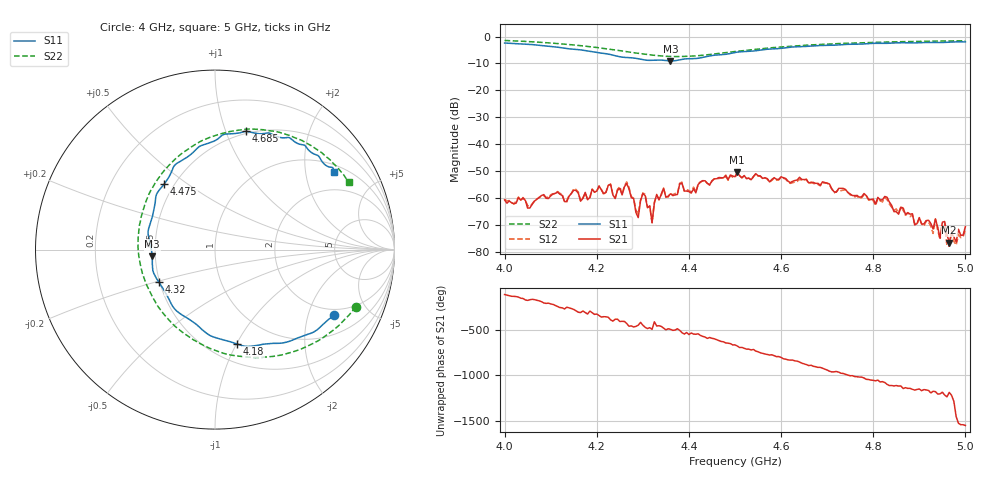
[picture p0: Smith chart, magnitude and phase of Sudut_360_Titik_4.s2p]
# Hz S RI R 50
! CMT, C1220, 16058040, 17.2.0/1
! Date: 15/08/2018 12:35:14
! Data: Format (Calibration Info)
! Freq  S11: Re/Im (F2)  S21: Re/Im (F2)  S12: Re/Im (F2)  S22: Re/Im (F2)
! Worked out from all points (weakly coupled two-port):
!   201 points, 4 GHz to 5 GHz, reference 50 ohm
!   highest |S21| = -50.41 dB at 4.505 GHz (marker M1); lowest = -76.5 dB at 4.965 GHz (marker M2)
!   lowest |S11| = -9.1 dB at 4.36 GHz (marker M3), VSWR 2.09, Z = 24 - j2.07 ohm
!   |S11| at or under -10 dB: nowhere
!   |S22| runs from -7.4 to -1.5 dB; largest |S21 - S12| = 0.00021
!   S11 on the Smith chart (normalised r, x): 4 GHz: 1.72, -2.96; 4.18 GHz: 0.68, -1.00; 4.32 GHz: 0.49, -0.21; 4.475 GHz: 0.44, +0.41; 4.685 GHz: 0.48, +1.18; 5 GHz: 1.22, +2.89
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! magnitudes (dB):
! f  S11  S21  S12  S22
! 4 GHz  -2.4  -60.7  -60.4  -1.5
! 4.17 GHz  -5.1  -60.1  -59.9  -3.5
! 4.18 GHz  -5.4  -60.6  -60.4  -3.7
! 4.265 GHz  -7.8  -54.6  -54.0  -5.6
! 4.29 GHz  -8.3  -67.3  -65.9  -6.2
! 4.305 GHz  -8.7  -59.1  -58.6  -6.6
! 4.32 GHz  -8.8  -69.1  -69.2  -6.9
! 4.33 GHz  -8.8  -58.6  -58.9  -7.1
! 4.335 GHz  -8.7  -60.7  -60.3  -7.2
! 4.36 GHz  -9.1  -58.4  -58.2  -7.4
! 4.475 GHz  -6.7  -52.5  -52.5  -6.1
! 4.5 GHz  -5.9  -52.1  -52.3  -5.6
! 4.505 GHz  -5.8  -50.4  -50.7  -5.5
! 4.67 GHz  -3.5  -54.2  -54.5  -3.1
! 4.685 GHz  -3.3  -55.2  -55.4  -2.9
! 4.835 GHz  -2.5  -61.5  -62.2  -2.0
! 4.93 GHz  -2.2  -71.5  -73.1  -1.7
! 4.935 GHz  -2.2  -67.8  -67.7  -1.7
! 4.945 GHz  -2.2  -75.0  -75.4  -1.7
! 4.955 GHz  -2.2  -68.7  -69.5  -1.7
! 4.965 GHz  -2.1  -76.5  -77.9  -1.6
! 5 GHz  -2.0  -70.6  -71.8  -1.6
